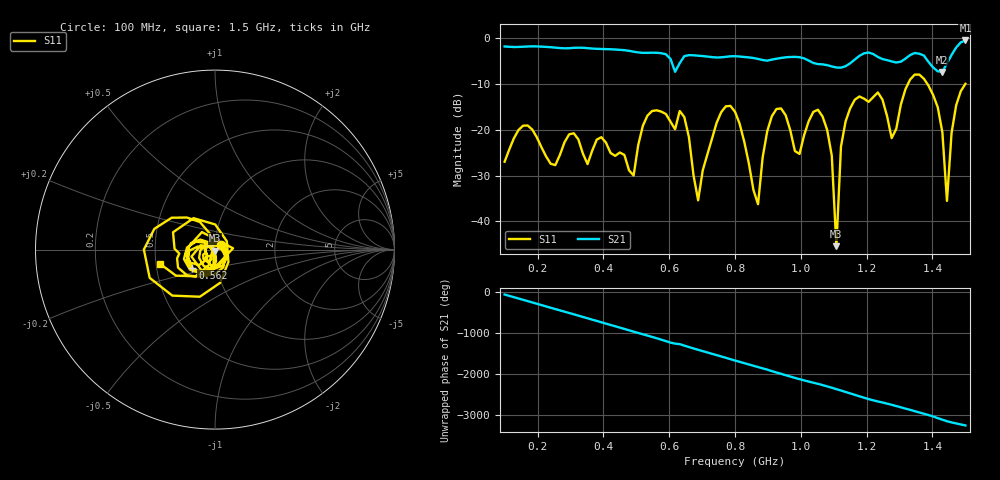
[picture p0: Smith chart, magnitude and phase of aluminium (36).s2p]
! NanoVNA-App
! Date: 2025-09-25 14:55:33
! Start: 100MHz Stop: 1,5GHz Points: 101
! S-Parameter data: F S11 S21 S12 S22
# Hz S RI R 50
!  Frequency  S11_Real  S11_Imag  S21_Real  S21_Imag  S12_Real  S12_Imag  S22_Real  S22_Imag
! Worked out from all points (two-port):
!   101 points, 100 MHz to 1.5 GHz, reference 50 ohm
!   highest |S21| = -0.61 dB at 1.5 GHz (marker M1); lowest = -7.5 dB at 1.43 GHz (marker M2)
!   |S21| within 3 dB of the highest: start of sweep to 590 MHz; 1.187 GHz to 1.221 GHz (34.18 MHz wide, 2.84 % of centre) (the widest 2 of 4)
!   lowest |S11| = -45.4 dB at 1.108 GHz (marker M3), VSWR 1.01, Z = 49.8 - j0.512 ohm
!   |S11| at or under -10 dB: start of sweep to 1.326 GHz; 1.384 GHz to end of sweep
!   S12 and S22 are empty: the file has one direction only
!   S11 on the Smith chart (normalised r, x): 100 MHz: 1.07, +0.06; 562 MHz: 0.76, -0.16; 1.5 GHz: 0.53, -0.09
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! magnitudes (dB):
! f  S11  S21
! 100 MHz  -27.0  -1.9
! 338 MHz  -25.3  -2.2
! 492 MHz  -30.0  -3.1
! 562 MHz  -15.8  -3.3
! 576 MHz  -16.1  -3.4
! 646 MHz  -17.3  -4.0
! 688 MHz  -35.4  -3.9
! 800 MHz  -16.1  -4.0
! 870 MHz  -36.2  -4.6
! 912 MHz  -17.1  -4.8
! 996 MHz  -25.3  -4.2
! 1.038 GHz  -16.1  -5.5
! 1.094 GHz  -25.6  -6.3
! 1.108 GHz  -45.4  -6.5
! 1.122 GHz  -23.7  -6.5
! 1.15 GHz  -15.4  -5.6
! 1.276 GHz  -21.9  -5.2
! 1.346 GHz  -8.0  -3.3
! 1.43 GHz  -20.6  -7.5
! 1.444 GHz  -35.5  -5.6
! 1.458 GHz  -20.7  -3.8
! 1.5 GHz  -10.1  -0.6
